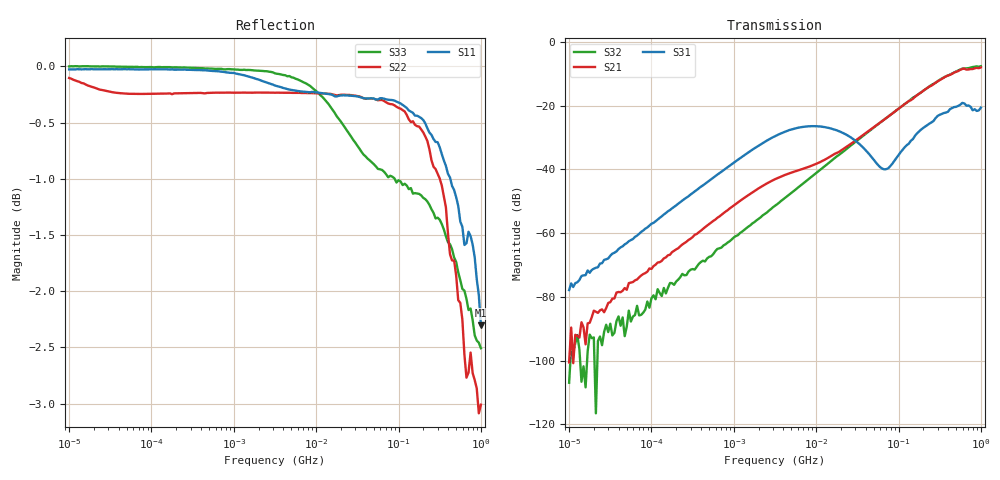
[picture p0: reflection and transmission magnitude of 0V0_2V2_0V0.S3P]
!Keysight Technologies,E5080A,MY55100144,A.11.70.03
!Date: Monday, November 13, 2017 17:24:28
!Correction: S11(Full 3 Port(1,2,3))
!S12(Full 3 Port(1,2,3))
!S13(Full 3 Port(1,2,3))
!S21(Full 3 Port(1,2,3))
!S22(Full 3 Port(1,2,3))
!S23(Full 3 Port(1,2,3))
!S31(Full 3 Port(1,2,3))
!S32(Full 3 Port(1,2,3))
!S33(Full 3 Port(1,2,3))
!S3P File: Measurements: <S11,S12,S13>,
!<S21,S22,S23>,
!<S31,S32,S33>:Log Frequency Sweep
# Hz S  RI  R 50
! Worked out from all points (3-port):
!   201 points, 10 kHz to 1 GHz, reference 50 ohm
!   strongest paths, dB at 10 kHz, 177.8 kHz, 3.162 MHz, 56.23 MHz, 1 GHz:
!     S31: -77.9, -52.2, -29.6, -38.6, -20.6
!     S21: -100.5, -65.9, -43.1, -25.9, -8.0
!     S32: -106.9, -75.7, -51.4, -25.9, -7.7
!   lowest |S11| = -2.3 dB at 1 GHz (marker M1), VSWR 7.58, Z = 379 - j0.231 ohm
!   |S11| at or under -10 dB: nowhere
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10000  0.9968 -0.00444  -1.28e-05 8.54e-07  1.85e-05 0.000127
       -7.42e-06 5.77e-06  0.4682 -0.8702  -2.12e-06 2.66e-06
       2e-05 0.000126  -4.29e-06 -1.4e-06  0.9999 -0.00257
63095.73  0.9964 -0.0276  -2.72e-05 0.000124  2.56e-05 0.00089
          -2.7e-05 0.00018  -0.8423 -0.4852  -2.27e-05 4.61e-05
          3.55e-05 0.000873  -3.42e-06 5.19e-05  0.9994 -0.00703
1000000  0.9041 -0.4114  0.000192 0.00185  0.00362 0.0121
         0.000313 0.0027  -0.9729 -0.0284  4.1e-07 0.000825
         0.00354 0.0122  -7.66e-06 0.000857  0.9923 -0.0947
3162278  0.3541 -0.9143  0.00144 0.00497  0.0223 0.0237
         0.00248 0.00656  -0.9733 0.00439  -5.94e-05 0.00263
         0.0223 0.0245  -4e-05 0.00268  0.9498 -0.289
2.113489e7  -0.9081 -0.3429  0.00606 0.0196  0.032 -0.0168
            0.00663 0.0195  -0.9667 0.0945  0.000752 0.0187
            0.033 -0.017  0.00104 0.0188  -0.0159 -0.942
6.683439e7  -0.9643 0.077  0.0205 0.0566  0.00953 0.000237
            0.0208 0.0565  -0.9188 0.2954  0.0146 0.0586
            0.01 -0.000115  0.0148 0.0585  -0.8108 -0.3851
1.059254e8  -0.9334 0.2357  0.0428 0.084  0.0134 0.013
            0.0431 0.0837  -0.8454 0.4495  0.0367 0.0871
            0.0136 0.0126  0.0369 0.0868  -0.8838 -0.0939
3.758374e8  -0.3748 0.8217  0.2839 0.0316  0.0773 -0.00998
            0.2839 0.0315  0.0885 0.8612  0.2839 0.0499
            0.0771 -0.0102  0.2834 0.0499  -0.4893 0.6832
7.079458e8  0.4626 0.7062  0.1989 -0.3089  0.00943 -0.1
            0.1986 -0.3093  0.6943 0.2282  0.2417 -0.3016
            0.00943 -0.0999  0.2418 -0.3012  0.2563 0.7358
1e9  0.767 -0.000126  -0.0985 -0.3836  -0.0566 -0.0738
     -0.0988 -0.3837  0.5905 -0.389  -0.047 -0.4118
     -0.0566 -0.0736  -0.0468 -0.4118  0.6828 0.3085
